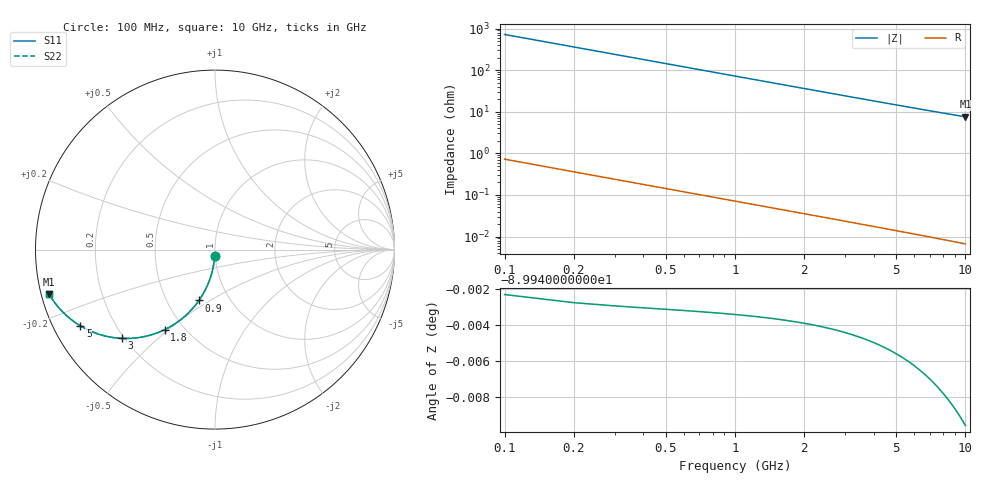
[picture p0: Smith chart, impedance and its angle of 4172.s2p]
# Hz S RI R 50.00
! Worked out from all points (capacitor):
!   100 points, 100 MHz to 10 GHz, reference 50 ohm
!   read as one part in shunt: C = 2.21 pF near 100 MHz
!   lowest |Z| = 7.55 ohm at 10 GHz (marker M1)
!   S11 on the Smith chart (normalised r, x): 100 MHz: 1.00, -0.07; 900 MHz: 0.72, -0.45; 1.8 GHz: 0.39, -0.49; 3 GHz: 0.19, -0.39; 5 GHz: 0.08, -0.26; 10 GHz: 0.02, -0.13
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1e8  -0.00121 -0.0345  0.9987 -0.0348  0.9987 -0.0348  -0.00121 -0.0345
2e8  -0.00484 -0.0688  0.9951 -0.0694  0.9951 -0.0694  -0.00484 -0.0688
3e8  -0.0108 -0.1026  0.9891 -0.1035  0.9891 -0.1035  -0.0108 -0.1026
4e8  -0.019 -0.1357  0.9809 -0.1369  0.9809 -0.1369  -0.019 -0.1357
5e8  -0.0294 -0.1678  0.9705 -0.1693  0.9705 -0.1693  -0.0294 -0.1678
6e8  -0.0418 -0.1987  0.9582 -0.2005  0.9582 -0.2005  -0.0418 -0.1987
7e8  -0.056 -0.2284  0.944 -0.2305  0.944 -0.2305  -0.056 -0.2284
9e8  -0.0892 -0.2832  0.9108 -0.2859  0.9108 -0.2859  -0.0892 -0.2832
1.1e9  -0.1275 -0.3314  0.8724 -0.3347  0.8724 -0.3347  -0.1275 -0.3314
1.3e9  -0.1694 -0.3727  0.8305 -0.3766  0.8305 -0.3766  -0.1694 -0.3727
1.5e9  -0.2134 -0.407  0.7865 -0.4115  0.7865 -0.4115  -0.2134 -0.407
1.8e9  -0.2808 -0.4462  0.7191 -0.4516  0.7191 -0.4516  -0.2808 -0.4462
2.4e9  -0.4094 -0.4876  0.5905 -0.4948  0.5905 -0.4948  -0.4094 -0.4876
3e9  -0.5196 -0.4946  0.4803 -0.5036  0.4803 -0.5036  -0.5196 -0.4946
3.4e9  -0.5813 -0.4877  0.4185 -0.498  0.4185 -0.498  -0.5813 -0.4877
4.2e9  -0.6792 -0.4599  0.3207 -0.4726  0.3207 -0.4726  -0.6792 -0.4599
5e9  -0.75 -0.4248  0.2498 -0.4401  0.2498 -0.4401  -0.75 -0.4248
5.1e9  -0.7573 -0.4203  0.2425 -0.4359  0.2425 -0.4359  -0.7573 -0.4203
5.9e9  -0.8069 -0.3851  0.1929 -0.4032  0.1929 -0.4032  -0.8069 -0.3851
6.7e9  -0.8436 -0.3522  0.1562 -0.373  0.1562 -0.373  -0.8436 -0.3522
8.4e9  -0.8948 -0.2929  0.1048 -0.3192  0.1048 -0.3192  -0.8948 -0.2929
1e10  -0.9237 -0.2486  0.0757 -0.2803  0.0757 -0.2803  -0.9237 -0.2486
